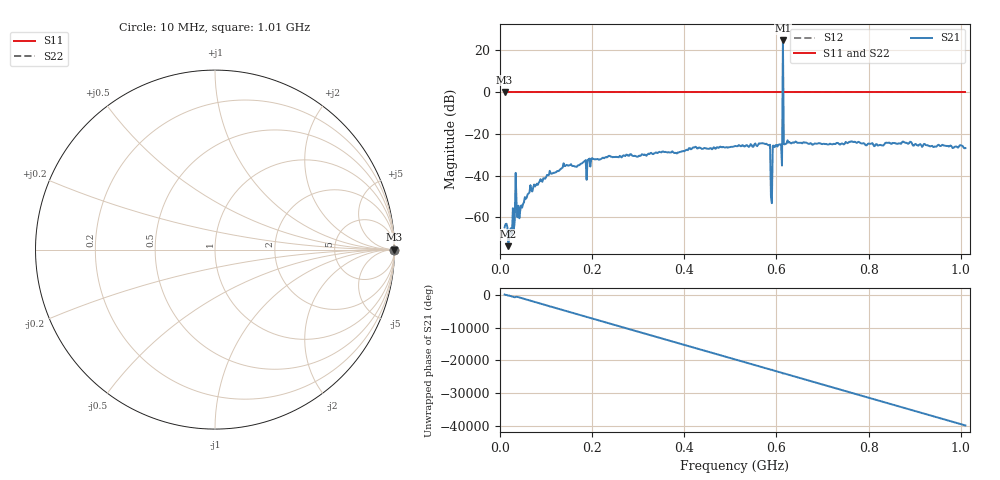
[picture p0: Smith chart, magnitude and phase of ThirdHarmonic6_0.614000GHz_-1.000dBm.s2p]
! 8/15/2025 8:09:18 PM
! C:\ANRITSUVNA\TEMP\TEMP.S2P
! CHANNEL.1
! TR.MEASUREMENT
! RAW.DATA
! RF.CORRECTION.OFF
! AVERAGING.OFF
! IF.BANDWIDTH: 5KHZ
! SWEEPTYPE:  FREQ.SWEEP(Linear)
! Reference Plane Port Info
! PORT:  PORT1  PORT2
! DISTANCE:  0  m  0  m
! TIME:  0  s  0  s
! PHASE.OFFSET:  0  deg.  0  deg.
! LOSS:  0  dB  0  dB
! REF.LOSS:  0  dB  0  dB
! REF.FREQ:  0  Hz  0  Hz
! Power Info
! POWER:  -20  dBm  -20  dBm
! EFF.POWER:  -20  dBm  -20  dBm
! SOURCE.ATTEN:  0  dB  0  dB
! TEST.ATTEN:  0  dB  0  dB
# GHZ S RI R 50.0
! FREQ.GHZ  S11RE  S11IM  S21RE  S21IM  S12RE  S12IM  S22RE  S22IM
!; PortSelection: Port_12
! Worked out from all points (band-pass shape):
!   501 points, 10 MHz to 1.01 GHz, reference 50 ohm
!   highest |S21| = 24.68 dB at 614 MHz (marker M1); lowest = -73.7 dB at 18 MHz (marker M2)
!   |S21| within 3 dB of the highest: 613.8997 MHz to 614.1209 MHz (221.1 kHz wide, 0.036 % of centre)
!   lowest |S11| = 0.0 dB at 10 MHz (marker M3)
!   |S11| at or under -10 dB: nowhere
!   |S22| runs from 0.0 to 0.0 dB; largest |S21 - S12| = 18
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0.01  1 0  -0.000306 0.000492  1 0  1 0
0.018  1 0  -0.000198 5.54e-05  1 0  1 0
0.022  1 0  0.000396 0.000331  1 0  1 0
0.032  1 0  0.000837 -5.15e-05  1 0  1 0
0.042  1 0  0.0005 -0.000816  1 0  1 0
0.07  1 0  -0.00154 -0.00389  1 0  1 0
0.142  1 0  -0.0164 -0.00437  1 0  1 0
0.178  1 0  -0.0198 -0.00103  1 0  1 0
0.344  1 0  0.0298 -0.0205  1 0  1 0
0.51  1 0  -0.0252 0.0444  1 0  1 0
0.582  1 0  -8.21e-05 0.0537  1 0  1 0
0.586  1 0  0.0215 -0.0505  1 0  1 0
0.592  1 0  0.0344 0.0388  1 0  1 0
0.596  1 0  -0.0157 -0.0454  1 0  1 0
0.608  1 0  -0.0382 0.041  1 0  1 0
0.61  1 0  0.0326 0.0437  1 0  1 0
0.614  1 0  -16.63 4.158  1 0  1 0
0.618  1 0  0.00297 0.0561  1 0  1 0
0.62  1 0  0.0573 0.00687  1 0  1 0
0.678  1 0  -0.0548 0.00212  1 0  1 0
0.844  1 0  0.05 -0.0366  1 0  1 0
1.01  1 0  -0.0151 0.0429  1 0  1 0
